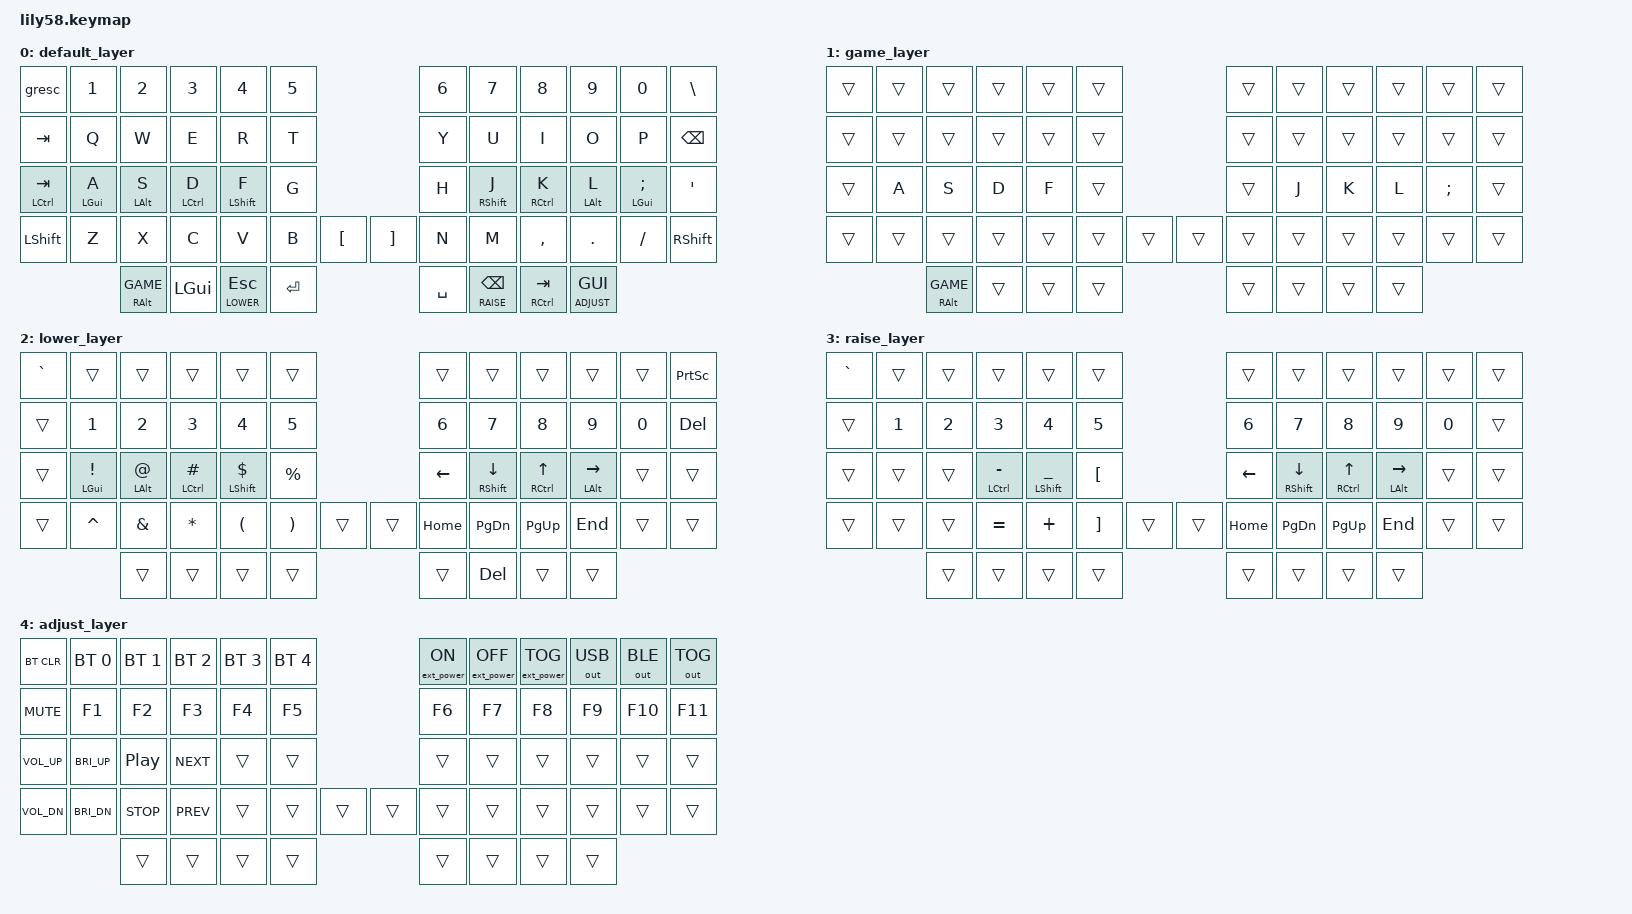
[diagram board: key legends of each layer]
/*
 * Copyright (c) 2020 The ZMK Contributors
 *
 * SPDX-License-Identifier: MIT
 */

#include <behaviors.dtsi>
#include <dt-bindings/zmk/keys.h>
#include <dt-bindings/zmk/bt.h>
#include <dt-bindings/zmk/ext_power.h>
#include <dt-bindings/zmk/outputs.h>

#define DEFAULT 0
#define GAME    1
#define LOWER   2
#define RAISE   3
#define ADJUST  4


&lt {
	quick-tap-ms = <200>;	
};

&mt {
	quick-tap-ms = <200>;	
};

/ {
    behaviors {
        hm: homerow_mods {
            compatible = "zmk,behavior-hold-tap";
            label = "HOMEROW_MODS";
            #binding-cells = <2>;
            tapping-term-ms = <175>;
            quick_tap_ms = <200>;
            flavor = "tap-preferred";
            bindings = <&kp>, <&kp>;
        };
    	gresc: grave_escape {
    	    compatible = "zmk,behavior-mod-morph";
    	    label = "GRAVE_ESCAPE";
    	    #binding-cells = <0>;
    	    bindings = <&kp ESC>, <&kp GRAVE>;
    	    mods = <(MOD_LALT|MOD_LSFT|MOD_RALT|MOD_RSFT)>;
    	};
        hold_tog: behavior_mo_tog {
            compatible = "zmk,behavior-hold-tap";
            label = "HOLD_TOG";
            #binding-cells = <2>;
            flavor = "hold-preferred";
            tapping-term-ms = <200>;
            bindings = <&kp>, <&tog>;
        };
    };



	keymap {
		compatible = "zmk,keymap";

		default_layer {
// ------------------------------------------------------------------------------------------------------------------
// | `/ESC |  1  |  2  |  3  |  4   |  5   |                   |  6   		 |  7    |  8    |  9   |   0   |   \   |
// |  TAB  |  Q  |  W  |  E  |  R   |  T   |                   |  Y   		 |  U    |  I    |  O   |   P   | BSPC  |
// |CTRL/TAB| A  |  S  |  D  |  F   |  G   |                   |  H   		 |  J    |  K    |  L   |   ;   |   '   |
// | SHIFT |  Z  |  X  |  C  |  V   |  B   |   "["  |  |  "]"  |  N   		 |  M    |  ,    |  .   |   /   | SHIFT |
//                  |ALT/GAME| GUI  |LOW/ESC| ENTER |  | SPACE | RAISE/BSPC | CTRL/TAB |  GUI  |
			bindings = <
&gresc	       &kp N1      &kp N2      &kp N3       &kp N4   	&kp N5                     		&kp N6 		&kp N7   	&kp N8    	&kp N9  	&kp N0   	  &kp BACKSLASH
&kp TAB        &kp Q       &kp W       &kp E        &kp R    	&kp T                      		&kp Y  		&kp U    	&kp I     	&kp O   	&kp P    	  &kp BSPC
&hm LCTRL TAB  &hm LGUI A  &hm LALT S  &hm LCTRL D  &hm LSHFT F	&kp G                      		&kp H  		&hm RSHFT J     &hm RCTRL K	&hm LALT L	&hm LGUI SEMI     &kp SQT
&kp LSHFT      &kp Z  	   &kp X       &kp C        &kp V    	&kp B 		&kp LBKT   &kp RBKT 	&kp N  		&kp M    	&kp COMMA 	&kp DOT 	&kp FSLH 	  &kp RSHFT
                           &hold_tog RALT GAME 	    &kp LGUI 	&lt LOWER ESC	&kp RET	   &kp SPACE 	&lt RAISE BSPC	&mt RCTRL TAB 	&lt ADJUST GUI
			>;
		};
		
		game_layer {
// Drops the home row mods so you can WASD
// -----------------------------------------------------------------------------------------------------------------
// | `/ESC |  1  |  2  |  3   |  4   |  5   |                   |  6   		 |  7    |  8    |  9   |   0   |   \   |
// |  TAB  |  Q  |  W  |  E   |  R   |  T   |                   |  Y   		 |  U    |  I    |  O   |   P   | BSPC  |
// |CTRL/TAB| A  |  S  |  D   |  F   |  G   |                   |  H   		 |  J    |  K    |  L   |   ;   |   '   |
// | SHIFT |  Z  |  X  |  C   |  V   |  B   |   "["  |  |  "]"  |  N   		 |  M    |  ,    |  .   |   /   | SHIFT |
//                   |ALT/GAME| GUI  |LOW/ESC| ENTER |  | SPACE | RAISE/BSPC  | CTRL/TAB |  GUI  |
			bindings = <
&trans	&trans  &trans	&trans		 &trans		  &trans                       &trans  	&trans    &trans    &trans    &trans    &trans
&trans	&trans  &trans	&trans		 &trans		  &trans                       &trans  	&trans    &trans    &trans    &trans    &trans
&trans	&kp A  	&kp S  	&kp D		 &kp F		  &trans                       &trans  	&kp J 	  &kp K	    &kp L     &kp SEMI  &trans
&trans	&trans  &trans	&trans		 &trans		  &trans  &trans        &trans &trans  	&trans    &trans    &trans    &trans    &trans
                	&hold_tog RALT GAME  &trans 	  &trans  &trans	&trans &trans	&trans	  &trans
			>;
		};

		lower_layer {
// --------------------------------------------------------------------------------------------------------
// |  ` |     |     |      |      |      |                   |      |       |       |      |       | PTSCN |
// |    |  1  |  2  |  3   |  4   |  5   |                   |  6   |   7   |   8   |  9   |   0   |  DEL  |
// |    |  !  |  @  |  #   |  $   |  %   |                   |  <-  |   v   |  ^    |  ->  |       |       |
// |    |  ^  |  &  |  *   |  (   |  )   |        |  |       | <<-  |  vv   |  ^^   |  ->> |       |	   |
//                  |      |      |      |        |  |       |  DEL |       |       |
			bindings = <
&kp GRAVE &trans 	&trans 	     &trans  	     &trans 	       &trans                       &trans    &trans          &trans        &trans          &trans    	&kp PRINTSCREEN
&trans	  &kp N1    	&kp N2 	     &kp N3  	     &kp N4  	       &kp N5                       &kp N6    &kp N7          &kp N8        &kp N9    	    &kp N0    	&kp DEL
&trans	  &hm LGUI EXCL &hm LALT AT  &hm LCTRL HASH  &hm LSHFT DOLLAR  &kp PRCNT                    &kp LEFT  &hm RSHFT DOWN  &hm RCTRL UP  &hm LALT RIGHT  &trans  	&trans
&trans    &kp CARET 	&kp AMPS     &kp STAR	     &kp LPAR          &kp RPAR  &trans   &trans    &kp HOME  &kp PG_DN       &kp PG_UP     &kp END         &trans  	&trans
                     		  		     &trans    	       &trans    &trans   &trans    &trans    &kp DEL         &trans	    &trans
			>;
		};

		raise_layer {
// ---------------------------------------------------------------------------------------------------------------
// |  `    |       |        |       |      |      |                 |      |       |       |      |       |       |
// |       |   1   |   2    |   3   |   4  |   5  |		    |   6  |   7   |   8   |   9  |   0   |       |
// |       |       |        |   -   |  _   |   [  |                 |  <-  |   v   |   ^   |  ->  |       |       |
// |       |       |        |   =   |  +   |   ]  |      |  |       | <<-  |  vv   |  ^^   |  ->> |       |       |
//                          |       |      |      |      |  |       |      |       |       |
			bindings = <
&kp GRAVE &trans  &trans	&trans		 &trans		  &trans                       &trans  	&trans    	&trans    	&trans    	&trans  &trans
&trans 	  &kp N1  &kp N2   	&kp N3   	 &kp N4       	  &kp N5	   	       &kp N6  	&kp N7    	&kp N8    	&kp N9    	&kp N0  &trans
&trans    &trans  &trans	&hm LCTRL MINUS	 &hm LSHFT UNDER  &kp LBKT 	               &kp LEFT	&hm RSHFT DOWN  &hm RCTRL UP	&hm LALT RIGHT	&trans  &trans
&trans	  &trans  &trans	&kp EQUAL 	 &kp PLUS	  &kp RBKT &trans    &trans    &kp HOME	&kp PG_DN 	&kp PG_UP 	&kp END		&trans	&trans
                        	&trans	 	 &trans  	  &trans   &trans    &trans    &trans   &trans    	&trans
			>;
		};

		adjust_layer {
// ---------------------------------------------------------------------------------------------------------------
// | BTCLR |  BT1  |  BT2   |  BT3  |  BT4 |  BT5 |                 | EPON | EPOFF | EPTOG | USB  |  BLE  |OUTTOG |
// | Mute  |  F1   |  F2    |  F3   |  F4  |  F5  |		    |  F6  |  F7   |  F8   |  F9  |  F10  |  F11  |
// | VolU  |  BriU | MPlay  | MNext |      |      |                 |      |       |       |      |       |       |
// | VolD  |  BRiD | MStop  | MPrev |      |      |      |  |       |      |       |       |      |       |       |
//                          |       |      |      |      |  |       |      |       |       |
			bindings = <
&bt BT_CLR    &bt BT_SEL 0 &bt BT_SEL 1 &bt BT_SEL 2 &bt BT_SEL 3 &bt BT_SEL 4                 	   &ext_power EP_ON &ext_power EP_OFF &ext_power EP_TOG  &out OUT_USB  &out OUT_BLE  &out OUT_TOG
&kp C_MUTE    &kp F1       &kp F2     	&kp F3       &kp F4       &kp F5			   &kp F6    	    &kp F7   	      &kp F8    	 &kp F9        &kp F10	     &kp F11
&kp C_VOL_UP  &kp C_BRI_UP &kp C_PP 	&kp C_NEXT   &trans	  &trans			   &trans	    &trans  	      &trans   		 &trans	       &trans        &trans
&kp C_VOL_DN  &kp C_BRI_DN &kp C_STOP 	&kp C_PREV   &trans 	  &trans	&trans   &trans    &trans  	    &trans	      &trans		 &trans	       &trans	     &trans
                        		&trans       &trans   	  &trans   	&trans   &trans    &trans      	    &trans  	      &trans
			>;
		};
	};
};
